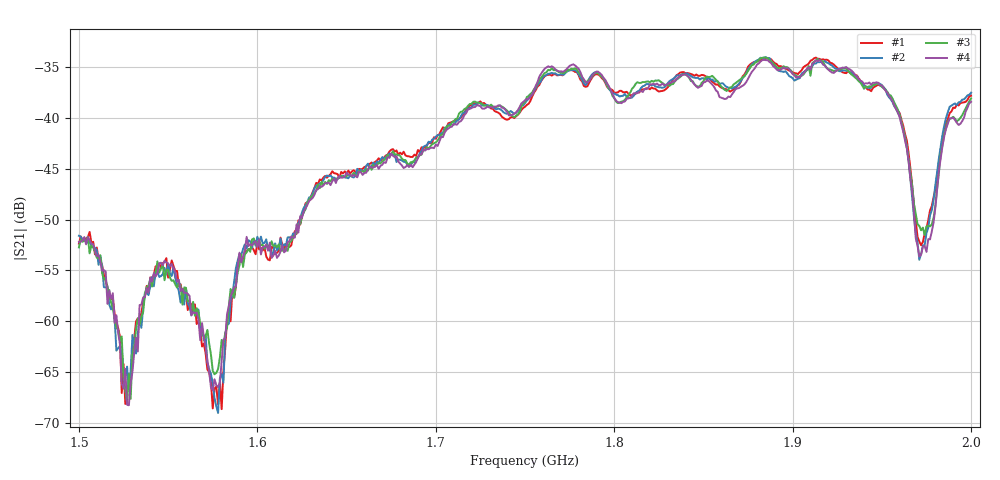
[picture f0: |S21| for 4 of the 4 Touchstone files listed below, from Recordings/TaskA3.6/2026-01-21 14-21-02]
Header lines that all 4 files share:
! NanoVNA-App by SYSJOINT et al v1.1.209 (+OD18)
! Start: 1,5GHz Stop: 2GHz Points: 501
! S-Parameter data: F S11 S21 S12 S22
# Hz S RI R 50
!  Frequency  S11_Real  S11_Imag  S21_Real  S21_Imag  S12_Real  S12_Imag  S22_Real  S22_Imag
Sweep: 1.5 GHz to 2 GHz
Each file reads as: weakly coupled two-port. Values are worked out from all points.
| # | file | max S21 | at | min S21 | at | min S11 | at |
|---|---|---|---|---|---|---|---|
| 1 | 0.s2p | -34.05 dB | 1.913 GHz | -68.7 dB | 1.58 GHz | -30.1 dB | 1.816 GHz |
| 2 | 1.s2p | -34.01 dB | 1.885 GHz | -69.0 dB | 1.578 GHz | -30.9 dB | 1.816 GHz |
| 3 | 2.s2p | -34.03 dB | 1.884 GHz | -68.2 dB | 1.527 GHz | -30.7 dB | 1.816 GHz |
| 4 | 3.s2p | -34.26 dB | 1.884 GHz | -68.3 dB | 1.528 GHz | -30.2 dB | 1.816 GHz |
